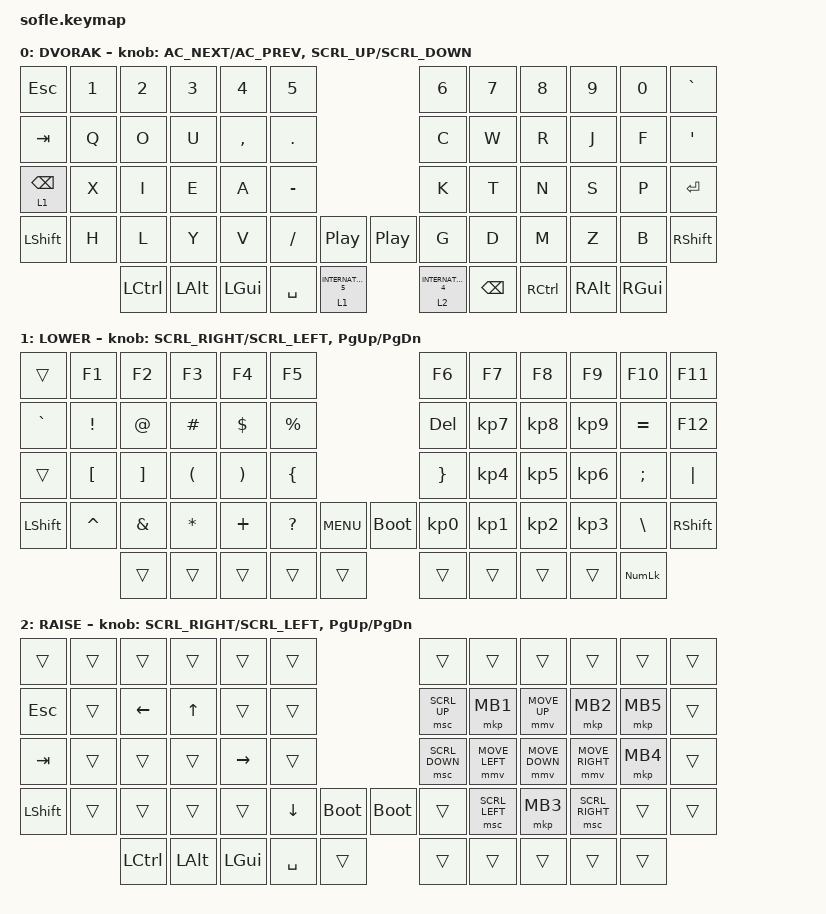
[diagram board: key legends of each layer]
/*
 * Sofle RGB ZMK keymap
 * Converted from QMK keymap.c
 *
 * Layout:
 *   Layer 0 (DVORAK) : メインレイヤー（QMK layer 0）
 *   Layer 1 (LOWER)  : Fn / 記号 / テンキー（QMK layer 2）
 *   Layer 2 (RAISE)  : マウス / 矢印（QMK layer 3）
 *
 * 変換メモ:
 *   KC_INT4/5      → INTERNATIONAL_4 / INTERNATIONAL_5
 *   QK_BOOTLOADER  → &bootloader
 *   KC_MPLY        → &kp C_PP
 *   KC_MEDIA_SELECT→ &kp C_MENU
 *   NK_ON          → &trans（ZMKはNKROがデフォルト）
 *   MS_ACL0/1/2    → &trans（ZMK未対応）
 *   MS_BTN*        → &mkp MB*
 *   MS_UP/DN/LT/RT → &mmv MOVE_UP/DOWN/LEFT/RIGHT
 *   MS_WHL*        → &msc SCRL_UP/DOWN/LEFT/RIGHT
 *
 * エンコーダー:
 *   左Layer0  : 時計回り=MB4 / 反時計=MB5
 *   左その他  : 時計回り=SCRL_RIGHT / 反時計=SCRL_LEFT
 *   右Layer0  : 時計回り=SCRL_UP / 反時計=SCRL_DOWN
 *   右その他  : 時計回り=PG_UP / 反時計=PG_DN
 *   ※ ZMKのsensor-bindingsはレイヤーごとに指定できないため
 *     Layer0の動作に統一しています（要件に合わせて変更可）
 */

#include <behaviors.dtsi>
#include <dt-bindings/zmk/keys.h>
#include <dt-bindings/zmk/bt.h>
#include <dt-bindings/zmk/mouse.h>
#include <dt-bindings/zmk/outputs.h>

/ {
    keymap {
        compatible = "zmk,keymap";

        /* ============================================================== */
        /* Layer 0: DVORAK                                                 */
        /* ============================================================== */
        default_layer {
            label = "DVORAK";
            bindings = <
                &kp ESC        &kp N1     &kp N2    &kp N3    &kp N4    &kp N5                                        &kp N6    &kp N7    &kp N8     &kp N9    &kp N0    &kp GRAVE
                &kp TAB        &kp Q      &kp O     &kp U     &kp COMMA &kp DOT                                       &kp C     &kp W     &kp R      &kp J     &kp F     &kp SQT
                &lt 1 BSPC     &kp X      &kp I     &kp E     &kp A     &kp MINUS                                     &kp K     &kp T     &kp N      &kp S     &kp P     &kp ENTER
                &kp LSHFT      &kp H      &kp L     &kp Y     &kp V     &kp SLASH  &kp C_PP           &kp C_PP        &kp G     &kp D     &kp M      &kp Z     &kp B     &kp RSHFT
                                          &kp LCTRL &kp LALT  &kp LGUI  &kp SPACE  &lt 1 INTERNATIONAL_5  &lt 2 INTERNATIONAL_4  &kp BSPC  &kp RCTRL  &kp RALT  &kp RGUI
            >;

            sensor-bindings = <&inc_dec_kp C_AC_NEXT C_AC_PREV &inc_dec_msc SCRL_UP SCRL_DOWN>;
        };

        /* ============================================================== */
        /* Layer 1: LOWER — Fn / 記号 / テンキー                          */
        /* ============================================================== */
        lower_layer {
            label = "LOWER";
            bindings = <
                &trans         &kp F1     &kp F2    &kp F3    &kp F4    &kp F5                                        &kp F6    &kp F7    &kp F8     &kp F9    &kp F10   &kp F11
                &kp GRAVE      &kp EXCL   &kp AT    &kp HASH  &kp DLLR  &kp PRCNT                                     &kp DEL   &kp KP_N7 &kp KP_N8  &kp KP_N9 &kp EQUAL &kp F12
                &trans         &kp LBKT   &kp RBKT  &kp LPAR  &kp RPAR  &kp LBRC                                      &kp RBRC  &kp KP_N4 &kp KP_N5  &kp KP_N6 &kp SEMI  &kp PIPE
                &kp LSHFT      &kp CARET  &kp AMPS  &kp STAR  &kp PLUS  &kp QMARK  &kp C_MENU         &bootloader     &kp KP_N0 &kp KP_N1 &kp KP_N2  &kp KP_N3 &kp BSLH  &kp RSHFT
                                          &trans    &trans    &trans    &trans     &trans                 &trans        &trans    &trans    &trans     &kp KP_NUM
            >;

            sensor-bindings = <&inc_dec_msc SCRL_RIGHT SCRL_LEFT &inc_dec_kp PG_UP PG_DN>;
        };

        /* ============================================================== */
        /* Layer 2: RAISE — マウス / ナビゲーション                        */
        /* ============================================================== */
        raise_layer {
            label = "RAISE";
            bindings = <
                &trans         &trans     &trans    &trans    &trans    &trans                                        &trans         &trans         &trans          &trans          &trans    &trans
                &kp ESC        &trans     &kp LEFT  &kp UP    &trans    &trans                                        &msc SCRL_UP   &mkp MB1       &mmv MOVE_UP    &mkp MB2        &mkp MB5  &trans
                &kp TAB        &trans     &trans    &trans    &kp RIGHT &trans                                        &msc SCRL_DOWN &mmv MOVE_LEFT &mmv MOVE_DOWN  &mmv MOVE_RIGHT &mkp MB4  &trans
                &kp LSHFT      &trans     &trans    &trans    &trans    &kp DOWN   &bootloader        &bootloader     &trans         &msc SCRL_LEFT &mkp MB3        &msc SCRL_RIGHT &trans    &trans
                                          &kp LCTRL &kp LALT  &kp LGUI  &kp SPACE  &trans               &trans        &trans         &trans         &trans          &trans
            >;

            sensor-bindings = <&inc_dec_msc SCRL_RIGHT SCRL_LEFT &inc_dec_kp PG_UP PG_DN>;
        };
    };
};
